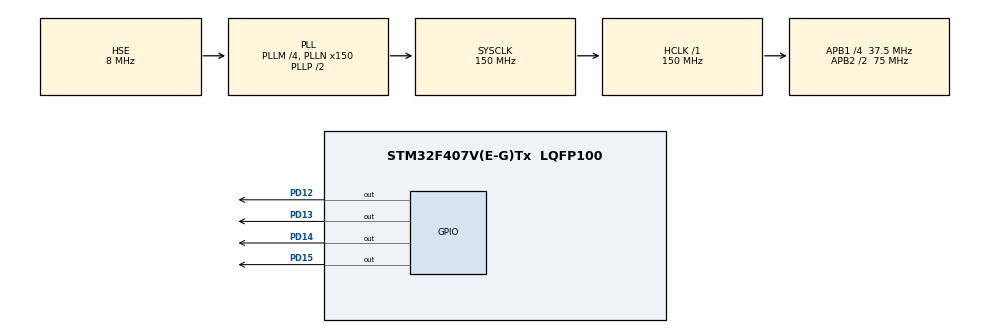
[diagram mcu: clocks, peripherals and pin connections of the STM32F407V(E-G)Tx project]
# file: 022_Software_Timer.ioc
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Mcu.Family=STM32F4
Mcu.Name=STM32F407V(E-G)Tx
Mcu.Package=LQFP100
NVIC.PriorityGroup=NVIC_PRIORITYGROUP_4
NVIC.TIM8_TRG_COM_TIM14_IRQn=true\:0\:0\:false\:false\:true\:true\:true\:true
PD12.Signal=GPIO_Output
PD13.Signal=GPIO_Output
PD14.Signal=GPIO_Output
PD15.Signal=GPIO_Output
PH0-OSC_IN.Mode=HSE-External-Oscillator
PH0-OSC_IN.Signal=RCC_OSC_IN
PH1-OSC_OUT.Mode=HSE-External-Oscillator
PH1-OSC_OUT.Signal=RCC_OSC_OUT
ProjectManager.HeapSize=0x200
ProjectManager.StackSize=0x400
ProjectManager.TargetToolchain=STM32CubeIDE
RCC.48MHZClocksFreq_Value=75000000
RCC.AHBFreq_Value=150000000
RCC.APB1CLKDivider=RCC_HCLK_DIV4
RCC.APB1Freq_Value=37500000
RCC.APB1TimFreq_Value=75000000
RCC.APB2CLKDivider=RCC_HCLK_DIV2
RCC.APB2Freq_Value=75000000
RCC.APB2TimFreq_Value=150000000
RCC.CortexFreq_Value=150000000
RCC.HCLKFreq_Value=150000000
RCC.HSE_VALUE=8000000
RCC.HSI_VALUE=16000000
RCC.LSE_VALUE=32768
RCC.PLLM=4
RCC.PLLN=150
RCC.PLLSourceVirtual=RCC_PLLSOURCE_HSE
RCC.SYSCLKFreq_VALUE=150000000
RCC.SYSCLKSource=RCC_SYSCLKSOURCE_PLLCLK
RCC.VCOOutputFreq_Value=300000000
TIM14.Period=999
TIM14.Prescaler=74
VP_TIM14_VS_ClockSourceINT.Mode=Enable_Timer
board=custom

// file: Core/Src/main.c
/* USER CODE BEGIN Header */
/**
  ******************************************************************************
  * @file           : main.c
  * @brief          : Main program body
  ******************************************************************************
  * @attention
  *
  * Copyright (c) 2026 STMicroelectronics.
  * All rights reserved.
  *
  * This software is licensed under terms that can be found in the LICENSE file
  * in the root directory of this software component.
  * If no LICENSE file comes with this software, it is provided AS-IS.
  *
  ******************************************************************************
  */
/* USER CODE END Header */
#include "main.h"

/* USER CODE BEGIN Includes */
#include "software_timer.h"
/* USER CODE END Includes */

TIM_HandleTypeDef htim14;

/* USER CODE BEGIN PV */

STimer_t sTime_1s;
STimer_t sTime_2s;
STimer_t sTime_4s;
STimer_t sTime_8s;
uint8_t sec, min, hour;

/* USER CODE END PV */

void SystemClock_Config(void);
static void MX_GPIO_Init(void);
static void MX_TIM14_Init(void);

int main(void)
{

  /* MCU Configuration--------------------------------------------------------*/

  /* Reset of all peripherals, Initializes the Flash interface and the Systick. */
  HAL_Init();

  /* Configure the system clock */
  SystemClock_Config();

  /* Initialize all configured peripherals */
  MX_GPIO_Init();
  MX_TIM14_Init();
  /* USER CODE BEGIN 2 */

  Software_Timer_Init(&htim14);
  Software_Timer_Set_Time(&sTime_1s, 1000);
  Software_Timer_Set_Time(&sTime_2s, 2000);
  Software_Timer_Set_Time(&sTime_4s, 4000);
  Software_Timer_Set_Time(&sTime_8s, 8000);
  /* USER CODE END 2 */

  /* Infinite loop */
  while (1)
  {

    /* USER CODE BEGIN 3 */

	  if(Software_Timer_Check_Elapsed_Time(&sTime_1s))
	  {
		  sec++;
		  if(sec >= 60)
		  {
			  sec = 0;
			  min++;

			  if(min>= 60)
			  {
				  min = 0;
				  hour++;
			  }
		  }
		  HAL_GPIO_TogglePin(GPIOD, GPIO_PIN_12);
		  Software_Timer_Set_Time(&sTime_1s, 1000);
	  }

	  if(Software_Timer_Check_Elapsed_Time(&sTime_2s))
	  {
		  HAL_GPIO_TogglePin(GPIOD, GPIO_PIN_13);
		  Software_Timer_Set_Time(&sTime_2s, 2000);
	  }

	  if(Software_Timer_Check_Elapsed_Time(&sTime_4s))
	  {
		  HAL_GPIO_TogglePin(GPIOD, GPIO_PIN_14);
		  Software_Timer_Set_Time(&sTime_4s, 4000);
	  }

	  if(Software_Timer_Check_Elapsed_Time(&sTime_8s))
	  {
		  HAL_GPIO_TogglePin(GPIOD, GPIO_PIN_15);
		  Software_Timer_Set_Time(&sTime_8s, 8000);
	  }
  }
  /* USER CODE END 3 */
}

void SystemClock_Config(void)
{
  RCC_OscInitTypeDef RCC_OscInitStruct = {0};
  RCC_ClkInitTypeDef RCC_ClkInitStruct = {0};

  /** Configure the main internal regulator output voltage
  */
  __HAL_RCC_PWR_CLK_ENABLE();
  __HAL_PWR_VOLTAGESCALING_CONFIG(PWR_REGULATOR_VOLTAGE_SCALE1);

  /** Initializes the RCC Oscillators according to the specified parameters
  * in the RCC_OscInitTypeDef structure.
  */
  RCC_OscInitStruct.OscillatorType = RCC_OSCILLATORTYPE_HSE;
  RCC_OscInitStruct.HSEState = RCC_HSE_ON;
  RCC_OscInitStruct.PLL.PLLState = RCC_PLL_ON;
  RCC_OscInitStruct.PLL.PLLSource = RCC_PLLSOURCE_HSE;
  RCC_OscInitStruct.PLL.PLLM = 4;
  RCC_OscInitStruct.PLL.PLLN = 150;
  RCC_OscInitStruct.PLL.PLLP = RCC_PLLP_DIV2;
  RCC_OscInitStruct.PLL.PLLQ = 4;
  if (HAL_RCC_OscConfig(&RCC_OscInitStruct) != HAL_OK)
  {
    Error_Handler();
  }

  /** Initializes the CPU, AHB and APB buses clocks
  */
  RCC_ClkInitStruct.ClockType = RCC_CLOCKTYPE_HCLK|RCC_CLOCKTYPE_SYSCLK
                              |RCC_CLOCKTYPE_PCLK1|RCC_CLOCKTYPE_PCLK2;
  RCC_ClkInitStruct.SYSCLKSource = RCC_SYSCLKSOURCE_PLLCLK;
  RCC_ClkInitStruct.AHBCLKDivider = RCC_SYSCLK_DIV1;
  RCC_ClkInitStruct.APB1CLKDivider = RCC_HCLK_DIV4;
  RCC_ClkInitStruct.APB2CLKDivider = RCC_HCLK_DIV2;

  if (HAL_RCC_ClockConfig(&RCC_ClkInitStruct, FLASH_LATENCY_4) != HAL_OK)
  {
    Error_Handler();
  }
}

static void MX_TIM14_Init(void)
{

  htim14.Instance = TIM14;
  htim14.Init.Prescaler = 74;
  htim14.Init.CounterMode = TIM_COUNTERMODE_UP;
  htim14.Init.Period = 999;
  htim14.Init.ClockDivision = TIM_CLOCKDIVISION_DIV1;
  htim14.Init.AutoReloadPreload = TIM_AUTORELOAD_PRELOAD_DISABLE;
  if (HAL_TIM_Base_Init(&htim14) != HAL_OK)
  {
    Error_Handler();
  }

}

static void MX_GPIO_Init(void)
{
  GPIO_InitTypeDef GPIO_InitStruct = {0};

  /* GPIO Ports Clock Enable */
  __HAL_RCC_GPIOH_CLK_ENABLE();
  __HAL_RCC_GPIOD_CLK_ENABLE();

  /*Configure GPIO pin Output Level */
  HAL_GPIO_WritePin(GPIOD, GPIO_PIN_12|GPIO_PIN_13|GPIO_PIN_14|GPIO_PIN_15, GPIO_PIN_RESET);

  /*Configure GPIO pins : PD12 PD13 PD14 PD15 */
  GPIO_InitStruct.Pin = GPIO_PIN_12|GPIO_PIN_13|GPIO_PIN_14|GPIO_PIN_15;
  GPIO_InitStruct.Mode = GPIO_MODE_OUTPUT_PP;
  GPIO_InitStruct.Pull = GPIO_NOPULL;
  GPIO_InitStruct.Speed = GPIO_SPEED_FREQ_LOW;
  HAL_GPIO_Init(GPIOD, &GPIO_InitStruct);

}

void Error_Handler(void)
{
  __disable_irq();
  while (1)
  {
  }
}
